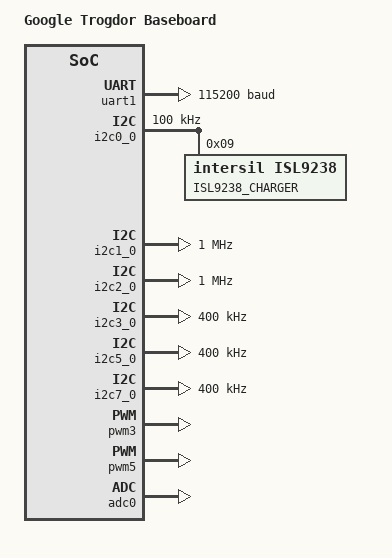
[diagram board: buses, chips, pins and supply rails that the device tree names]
/* Copyright 2021 The Chromium OS Authors. All rights reserved.
 * Use of this source code is governed by a BSD-style license that can be
 * found in the LICENSE file.
 */

/dts-v1/;

#include <cros/nuvoton/npcx.dtsi>
#include <dt-bindings/adc/adc.h>
#include <dt-bindings/gpio_defines.h>
#include <nuvoton/npcx7m6fc.dtsi>

/ {
	model = "Google Trogdor Baseboard";

	aliases {
		i2c-0 = &i2c0_0;
		i2c-1 = &i2c1_0;
		i2c-2 = &i2c2_0;
		i2c-3 = &i2c3_0;
		i2c-5 = &i2c5_0;
		i2c-7 = &i2c7_0;
	};

	chosen {
		zephyr,sram = &sram0;
		zephyr,console = &uart1;
		zephyr,shell-uart = &uart1;
		zephyr,flash = &flash0;
		cros,rtc = &mtc;
	};

	named-i2c-ports {
		compatible = "named-i2c-ports";

		power {
			i2c-port = <&i2c0_0>;
			enum-name = "I2C_PORT_POWER";
			label = "POWER";
		};
		battery {
			i2c-port = <&i2c0_0>;
			enum-name = "I2C_PORT_BATTERY";
			label = "BATTERY";
		};
		virtual {
			i2c-port = <&i2c0_0>;
			enum-name = "I2C_PORT_VIRTUAL";
			label = "VIRTUAL";
		};
		charger {
			i2c-port = <&i2c0_0>;
			enum-name = "I2C_PORT_CHARGER";
			label = "CHARGER";
		};
		tcpc0 {
			i2c-port = <&i2c1_0>;
			enum-name = "I2C_PORT_TCPC0";
			label = "TCPC0";
		};
		tcpc1 {
			i2c-port = <&i2c2_0>;
			enum-name = "I2C_PORT_TCPC1";
			label = "TCPC1";
		};
		wlc {
			i2c-port = <&i2c3_0>;
			enum-name = "I2C_PORT_WLC";
			label = "WLC";
		};
		eeprom {
			i2c-port = <&i2c5_0>;
			enum-name = "I2C_PORT_EEPROM";
			label = "EEPROM";
		};
		i2c_sensor: sensor {
			i2c-port = <&i2c7_0>;
			enum-name = "I2C_PORT_SENSOR";
			label = "SENSOR";
			config {
				frequency = <400>;
				scl {
					enum-name = "GPIO_EC_I2C_SENSOR_SCL";
				};
				sda {
					enum-name = "GPIO_EC_I2C_SENSOR_SDA";
				};
			};
		};
		accel {
			i2c-port = <&i2c7_0>;
			enum-name = "I2C_PORT_ACCEL";
			label = "ACCEL";
		};
	};

	named-pwms {
		compatible = "named-pwms";

		kblight {
			pwms = <&pwm3 0 0>;
			label = "KBLIGHT";
			frequency = <10000>;
		};
		displight {
			pwms = <&pwm5 0 0>;
			label = "DISPLIGHT";
			frequency = <4800>;
		};
	};

	named-adc-channels {
		compatible = "named-adc-channels";

		vbus {
			label = "ADC_VBUS";
			enum-name = "ADC_VBUS";
			channel = <1>;
			/* Measure VBUS through a 1/10 voltage divider */
			mul = <10>;
		};
		amon_bmon {
			label = "ADC_AMON_BMON";
			enum-name = "ADC_AMON_BMON";
			channel = <2>;
			/*
			 * Adapter current output or battery charging/
			 * discharging current (uV) 18x amplification on
			 * charger side.
			 */
			mul = <1000>;
			div = <18>;
		};
		psys {
			label = "ADC_PSYS";
			enum-name = "ADC_PSYS";
			channel = <3>;
			/*
			 * ISL9238 PSYS output is 1.44 uA/W over 5.6K resistor,
			 * to read 0.8V @ 99 W, i.e. 124000 uW/mV.
			 */
			mul = <124000>;
		};
	};

	def-lvol-io-list {
		compatible = "nuvoton,npcx-lvolctrl-def";

		/* I2C_SDA0 & SCL0 */
		lvol-io-pads = <&lvol_iob4 &lvol_iob5>;
	};

	soc {
		cros_kb_raw: cros-kb-raw@400a3000 {
			compatible = "nuvoton,npcx-cros-kb-raw";
			reg = <0x400a3000 0x2000>;
			label = "CROS_KB_RAW_0";
			interrupts = <49 4>;
			clocks = <&pcc NPCX_CLOCK_BUS_APB1 NPCX_PWDWN_CTL1 0>;
			/* No KSO2 (it's inverted and implemented by GPIO) */
			pinctrl-0 = <&alt7_no_ksi0_sl /* KSI0 PIN31 */
				     &alt7_no_ksi1_sl /* KSI1 PIN30 */
				     &alt7_no_ksi2_sl /* KSI2 PIN27 */
				     &alt7_no_ksi3_sl /* KSI3 PIN26 */
				     &alt7_no_ksi4_sl /* KSI4 PIN25 */
				     &alt7_no_ksi5_sl /* KSI5 PIN24 */
				     &alt7_no_ksi6_sl /* KSI6 PIN23 */
				     &alt7_no_ksi7_sl /* KSI7 PIN22 */
				     &alt8_no_kso00_sl /* KSO00 PIN21 */
				     &alt8_no_kso01_sl /* KSO01 PIN20 */
				     &alt8_no_kso03_sl /* KSO03 PIN16 */
				     &alt8_no_kso04_sl /* KSO04 PIN15 */
				     &alt8_no_kso05_sl /* KSO05 PIN14 */
				     &alt8_no_kso06_sl /* KSO06 PIN13 */
				     &alt8_no_kso07_sl /* KSO07 PIN12 */
				     &alt9_no_kso08_sl /* KSO08 PIN11 */
				     &alt9_no_kso09_sl /* KSO09 PIN10 */
				     &alt9_no_kso10_sl /* KSO10 PIN07 */
				     &alt9_no_kso11_sl /* KSO11 PIN06 */
				     &alt9_no_kso12_sl /* KSO12 PIN05 */
				     &alt9_no_kso13_sl /* KSO13 PIN04 */
				     &alt9_no_kso14_sl /* KSO14 PIN82 */
				     >;
			wui_maps = <&wui_io31 &wui_io30 &wui_io27 &wui_io26
				    &wui_io25 &wui_io24 &wui_io23 &wui_io22>;
			status = "disabled";
		};

		fiu0: cros-flash@40020000 {
			compatible = "nuvoton,npcx-cros-flash";
			reg = <0x40020000 0x2000>;
			clocks = <&pcc NPCX_CLOCK_BUS_APB3 NPCX_PWDWN_CTL1 2>;
			size = <0x80000>;
			label = "FLASH_INTERFACE_UNIT0";
			pinctrl-0 = <>;
		};
	};

	/* Update flash size to 512KB from 196KB since we are using C variant */
	/delete-node/ flash@10090000;
	flash0: flash@10070000 {
		reg = <0x10070000 0x40000>;
	};
};

&uart1 {
	status = "okay";
	current-speed = <115200>;
	pinctrl-0 = <&altc_uart1_sl2>; /* Use UART1_SL2 ie. PIN64.65 */
};

&i2c0_0 {
	status = "okay";
	clock-frequency = <I2C_BITRATE_STANDARD>;

	isl9238: isl9238@9 {
		compatible = "intersil,isl9238";
		reg = <0x09>;
		label = "ISL9238_CHARGER";
	};
};

&i2c1_0 {
	status = "okay";
	clock-frequency = <I2C_BITRATE_FAST_PLUS>;
};

&i2c2_0 {
	status = "okay";
	clock-frequency = <I2C_BITRATE_FAST_PLUS>;
};

&i2c3_0 {
	/* Not used as no WLC connected */
	clock-frequency = <I2C_BITRATE_FAST>;
};

&i2c5_0 {
	status = "okay";
	clock-frequency = <I2C_BITRATE_FAST>;
};

&i2c7_0 {
	status = "okay";
	clock-frequency = <I2C_BITRATE_FAST>;
};

/* Keyboard backlight */
&pwm3 {
	status = "okay";
};

/* Display backlight */
&pwm5 {
	status = "okay";
};

&adc0 {
	status = "okay";
};
